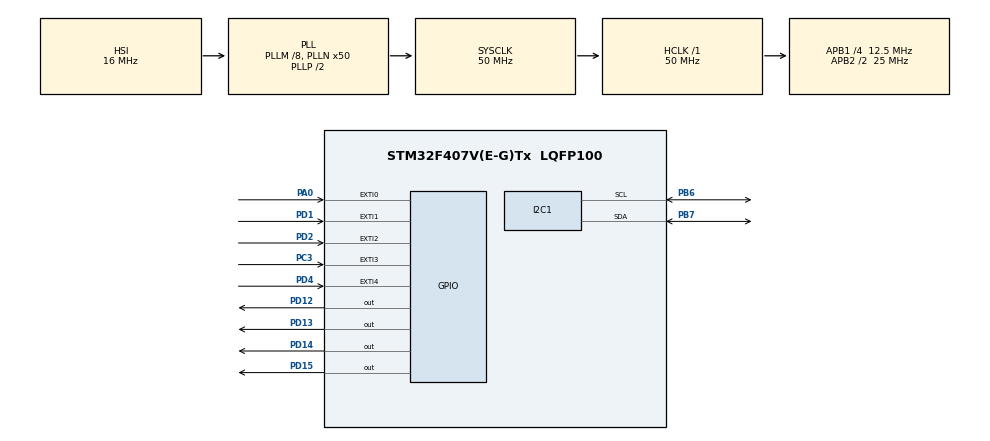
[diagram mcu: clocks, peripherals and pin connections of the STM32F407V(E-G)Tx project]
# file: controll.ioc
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FREERTOS.INCLUDE_pcTaskGetTaskName=1
FREERTOS.INCLUDE_vTaskDelayUntil=1
FREERTOS.INCLUDE_xTaskGetHandle=1
FREERTOS.Tasks01=defaultTask,0,128,StartDefaultTask,Default,NULL,Dynamic,NULL,NULL
FREERTOS.configUSE_NEWLIB_REENTRANT=1
Mcu.Family=STM32F4
Mcu.Name=STM32F407V(E-G)Tx
Mcu.Package=LQFP100
NVIC.EXTI0_IRQn=true\:5\:0\:false\:false\:true\:false\:true\:true\:true
NVIC.EXTI1_IRQn=true\:5\:0\:false\:false\:true\:false\:true\:true\:true
NVIC.EXTI2_IRQn=true\:5\:0\:false\:false\:true\:false\:true\:true\:true
NVIC.EXTI3_IRQn=true\:5\:0\:false\:false\:true\:false\:true\:true\:true
NVIC.EXTI4_IRQn=true\:5\:0\:false\:false\:true\:false\:true\:true\:true
NVIC.I2C1_ER_IRQn=true\:5\:0\:false\:false\:true\:true\:true\:true\:true
NVIC.I2C1_EV_IRQn=true\:5\:0\:false\:false\:true\:true\:true\:true\:true
NVIC.PriorityGroup=NVIC_PRIORITYGROUP_4
NVIC.TIM1_UP_TIM10_IRQn=true\:15\:0\:false\:false\:true\:false\:false\:true\:true
NVIC.TimeBase=TIM1_UP_TIM10_IRQn
NVIC.TimeBaseIP=TIM1
PA0-WKUP.Signal=GPXTI0
PB6.Mode=I2C
PB6.Signal=I2C1_SCL
PB7.Mode=I2C
PB7.Signal=I2C1_SDA
PC3.Signal=GPXTI3
PD1.Signal=GPXTI1
PD12.PinState=GPIO_PIN_SET
PD12.Signal=GPIO_Output
PD13.PinState=GPIO_PIN_SET
PD13.Signal=GPIO_Output
PD14.PinState=GPIO_PIN_SET
PD14.Signal=GPIO_Output
PD15.PinState=GPIO_PIN_SET
PD15.Signal=GPIO_Output
PD2.Signal=GPXTI2
PD4.Signal=GPXTI4
ProjectManager.HeapSize=0x200
ProjectManager.StackSize=0x400
ProjectManager.TargetToolchain=STM32CubeIDE
RCC.48MHZClocksFreq_Value=14285714.285714285
RCC.AHBFreq_Value=50000000
RCC.APB1CLKDivider=RCC_HCLK_DIV4
RCC.APB1Freq_Value=12500000
RCC.APB1TimFreq_Value=25000000
RCC.APB2CLKDivider=RCC_HCLK_DIV2
RCC.APB2Freq_Value=25000000
RCC.APB2TimFreq_Value=50000000
RCC.CortexFreq_Value=50000000
RCC.HCLKFreq_Value=50000000
RCC.HSE_VALUE=8000000
RCC.HSI_VALUE=16000000
RCC.LSE_VALUE=32768
RCC.PLLM=8
RCC.PLLN=50
RCC.PLLQ=7
RCC.SYSCLKFreq_VALUE=50000000
RCC.SYSCLKSource=RCC_SYSCLKSOURCE_PLLCLK
RCC.VCOOutputFreq_Value=100000000
VP_FREERTOS_VS_CMSIS_V1.Mode=CMSIS_V1
VP_SYS_VS_tim1.Mode=TIM1
board=STM32F407G-DISC1

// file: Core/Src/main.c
/* USER CODE BEGIN Header */
/**
  ******************************************************************************
  * @file           : main.c
  * @brief          : Main program body
  ******************************************************************************
  * @attention
  *
  * Copyright (c) 2024 STMicroelectronics.
  * All rights reserved.
  *
  * This software is licensed under terms that can be found in the LICENSE file
  * in the root directory of this software component.
  * If no LICENSE file comes with this software, it is provided AS-IS.
  *
  ******************************************************************************
  */
/* USER CODE END Header */
#include "main.h"
#include "cmsis_os.h"

I2C_HandleTypeDef hi2c1;

osThreadId defaultTaskHandle;
/* USER CODE BEGIN PV */
extern int var;
/* USER CODE END PV */

void SystemClock_Config(void);
static void MX_GPIO_Init(void);
static void MX_I2C1_Init(void);
void StartDefaultTask(void const * argument);

/* USER CODE BEGIN PFP */
TaskHandle_t xChiller = NULL;
TaskHandle_t xConveyor = NULL;
TaskHandle_t xfilter = NULL;
TaskHandle_t xFlow = NULL;
/* USER CODE END PFP */

/* USER CODE BEGIN 0 */
void vChilPeri(void *pvParam)
{
	while(1)
	{
		HAL_GPIO_TogglePin(GPIOD, GPIO_PIN_15);
		vTaskDelay(10000 / portTICK_RATE_MS);
		HAL_GPIO_TogglePin(GPIOD, GPIO_PIN_15);
		vTaskDelay(15000 / portTICK_RATE_MS);
	}
	vTaskDelete(NULL);
}
void vConv(void *pvParam)
{
	while(1)
	{
		if (var==1)
		{
		HAL_GPIO_TogglePin(GPIOD, GPIO_PIN_13);
		vTaskDelay(15000 / portTICK_RATE_MS);
		HAL_GPIO_TogglePin(GPIOD, GPIO_PIN_13);
		vTaskDelay(20000 / portTICK_RATE_MS);
		}
	}
	vTaskDelete(NULL);
}

/* USER CODE END 0 */

int main(void)
{

  /* USER CODE BEGIN 1 */
	BaseType_t xRet;
  /* USER CODE END 1 */

  /* MCU Configuration--------------------------------------------------------*/

  /* Reset of all peripherals, Initializes the Flash interface and the Systick. */
  HAL_Init();

  /* Configure the system clock */
  SystemClock_Config();

  /* Initialize all configured peripherals */
  MX_GPIO_Init();
  MX_I2C1_Init();

  /* Create the thread(s) */
  /* definition and creation of defaultTask */
  osThreadDef(defaultTask, StartDefaultTask, osPriorityNormal, 0, 128);
  defaultTaskHandle = osThreadCreate(osThread(defaultTask), NULL);

  /* USER CODE BEGIN RTOS_THREADS */
  xRet = xTaskCreate(vChilPeri, "Task1", configMINIMAL_STACK_SIZE , NULL , 4, &xChiller);
  if(xRet != pdTRUE)
	  Error_Handler();
  xRet = xTaskCreate(vConv, "Task2", configMINIMAL_STACK_SIZE , NULL , 4, &xConveyor);
    if(xRet != pdTRUE)
  	  Error_Handler();

  /* USER CODE END RTOS_THREADS */

  /* Start scheduler */
  osKernelStart();

  /* We should never get here as control is now taken by the scheduler */

  /* Infinite loop */
  while (1)
  {

  }
}

void SystemClock_Config(void)
{
  RCC_OscInitTypeDef RCC_OscInitStruct = {0};
  RCC_ClkInitTypeDef RCC_ClkInitStruct = {0};

  /** Configure the main internal regulator output voltage
  */
  __HAL_RCC_PWR_CLK_ENABLE();
  __HAL_PWR_VOLTAGESCALING_CONFIG(PWR_REGULATOR_VOLTAGE_SCALE1);

  /** Initializes the RCC Oscillators according to the specified parameters
  * in the RCC_OscInitTypeDef structure.
  */
  RCC_OscInitStruct.OscillatorType = RCC_OSCILLATORTYPE_HSI;
  RCC_OscInitStruct.HSIState = RCC_HSI_ON;
  RCC_OscInitStruct.HSICalibrationValue = RCC_HSICALIBRATION_DEFAULT;
  RCC_OscInitStruct.PLL.PLLState = RCC_PLL_ON;
  RCC_OscInitStruct.PLL.PLLSource = RCC_PLLSOURCE_HSI;
  RCC_OscInitStruct.PLL.PLLM = 8;
  RCC_OscInitStruct.PLL.PLLN = 50;
  RCC_OscInitStruct.PLL.PLLP = RCC_PLLP_DIV2;
  RCC_OscInitStruct.PLL.PLLQ = 7;
  if (HAL_RCC_OscConfig(&RCC_OscInitStruct) != HAL_OK)
  {
    Error_Handler();
  }

  /** Initializes the CPU, AHB and APB buses clocks
  */
  RCC_ClkInitStruct.ClockType = RCC_CLOCKTYPE_HCLK|RCC_CLOCKTYPE_SYSCLK
                              |RCC_CLOCKTYPE_PCLK1|RCC_CLOCKTYPE_PCLK2;
  RCC_ClkInitStruct.SYSCLKSource = RCC_SYSCLKSOURCE_PLLCLK;
  RCC_ClkInitStruct.AHBCLKDivider = RCC_SYSCLK_DIV1;
  RCC_ClkInitStruct.APB1CLKDivider = RCC_HCLK_DIV4;
  RCC_ClkInitStruct.APB2CLKDivider = RCC_HCLK_DIV2;

  if (HAL_RCC_ClockConfig(&RCC_ClkInitStruct, FLASH_LATENCY_1) != HAL_OK)
  {
    Error_Handler();
  }
}

static void MX_I2C1_Init(void)
{

  hi2c1.Instance = I2C1;
  hi2c1.Init.ClockSpeed = 100000;
  hi2c1.Init.DutyCycle = I2C_DUTYCYCLE_2;
  hi2c1.Init.OwnAddress1 = 0;
  hi2c1.Init.AddressingMode = I2C_ADDRESSINGMODE_7BIT;
  hi2c1.Init.DualAddressMode = I2C_DUALADDRESS_DISABLE;
  hi2c1.Init.OwnAddress2 = 0;
  hi2c1.Init.GeneralCallMode = I2C_GENERALCALL_DISABLE;
  hi2c1.Init.NoStretchMode = I2C_NOSTRETCH_DISABLE;
  if (HAL_I2C_Init(&hi2c1) != HAL_OK)
  {
    Error_Handler();
  }

}

static void MX_GPIO_Init(void)
{
  GPIO_InitTypeDef GPIO_InitStruct = {0};

  /* GPIO Ports Clock Enable */
  __HAL_RCC_GPIOC_CLK_ENABLE();
  __HAL_RCC_GPIOA_CLK_ENABLE();
  __HAL_RCC_GPIOD_CLK_ENABLE();
  __HAL_RCC_GPIOB_CLK_ENABLE();

  /*Configure GPIO pin Output Level */
  HAL_GPIO_WritePin(GPIOD, GPIO_PIN_12|GPIO_PIN_13|GPIO_PIN_14|GPIO_PIN_15, GPIO_PIN_SET);

  /*Configure GPIO pin : PC3 */
  GPIO_InitStruct.Pin = GPIO_PIN_3;
  GPIO_InitStruct.Mode = GPIO_MODE_IT_RISING;
  GPIO_InitStruct.Pull = GPIO_NOPULL;
  HAL_GPIO_Init(GPIOC, &GPIO_InitStruct);

  /*Configure GPIO pin : PA0 */
  GPIO_InitStruct.Pin = GPIO_PIN_0;
  GPIO_InitStruct.Mode = GPIO_MODE_IT_RISING;
  GPIO_InitStruct.Pull = GPIO_NOPULL;
  HAL_GPIO_Init(GPIOA, &GPIO_InitStruct);

  /*Configure GPIO pins : PD12 PD13 PD14 PD15 */
  GPIO_InitStruct.Pin = GPIO_PIN_12|GPIO_PIN_13|GPIO_PIN_14|GPIO_PIN_15;
  GPIO_InitStruct.Mode = GPIO_MODE_OUTPUT_PP;
  GPIO_InitStruct.Pull = GPIO_NOPULL;
  GPIO_InitStruct.Speed = GPIO_SPEED_FREQ_LOW;
  HAL_GPIO_Init(GPIOD, &GPIO_InitStruct);

  /*Configure GPIO pins : PD1 PD2 PD4 */
  GPIO_InitStruct.Pin = GPIO_PIN_1|GPIO_PIN_2|GPIO_PIN_4;
  GPIO_InitStruct.Mode = GPIO_MODE_IT_RISING;
  GPIO_InitStruct.Pull = GPIO_NOPULL;
  HAL_GPIO_Init(GPIOD, &GPIO_InitStruct);

  /* EXTI interrupt init*/
  HAL_NVIC_SetPriority(EXTI0_IRQn, 5, 0);
  HAL_NVIC_EnableIRQ(EXTI0_IRQn);

  HAL_NVIC_SetPriority(EXTI1_IRQn, 5, 0);
  HAL_NVIC_EnableIRQ(EXTI1_IRQn);

  HAL_NVIC_SetPriority(EXTI2_IRQn, 5, 0);
  HAL_NVIC_EnableIRQ(EXTI2_IRQn);

  HAL_NVIC_SetPriority(EXTI3_IRQn, 5, 0);
  HAL_NVIC_EnableIRQ(EXTI3_IRQn);

  HAL_NVIC_SetPriority(EXTI4_IRQn, 5, 0);
  HAL_NVIC_EnableIRQ(EXTI4_IRQn);

}

void StartDefaultTask(void const * argument)
{
  for(;;)
  {
    osDelay(1);
  }
}

void HAL_TIM_PeriodElapsedCallback(TIM_HandleTypeDef *htim)
{
  if (htim->Instance == TIM1) {
    HAL_IncTick();
  }
}

void Error_Handler(void)
{
  __disable_irq();
  while (1)
  {
  }
}
